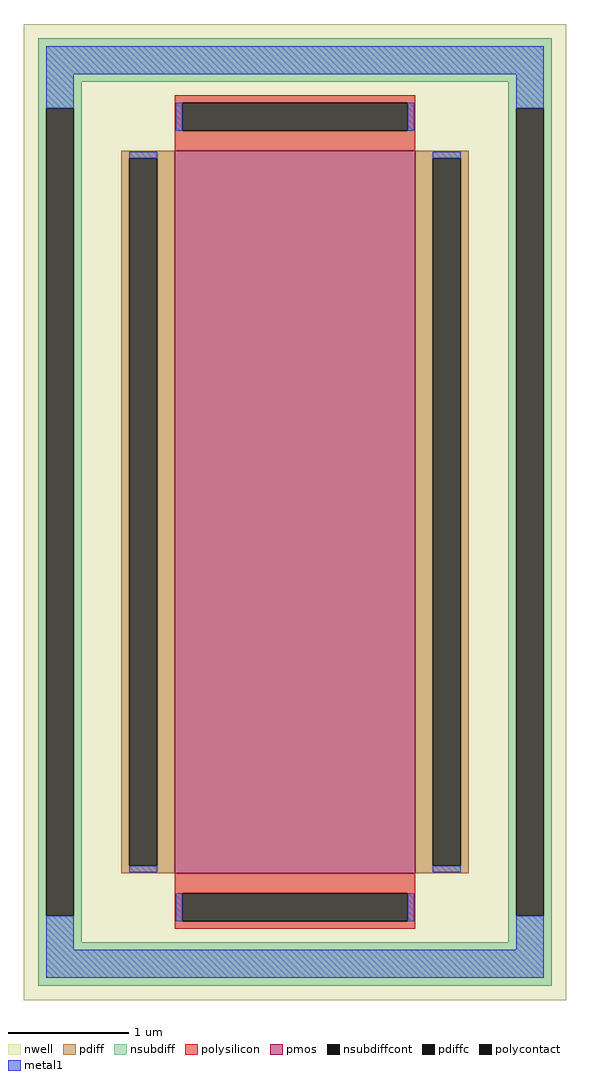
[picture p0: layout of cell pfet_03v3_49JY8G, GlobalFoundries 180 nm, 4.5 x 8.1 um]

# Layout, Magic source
magic
tech gf180mcuD
magscale 1 10
<< nwell >>
rect -450 -810 450 810
<< pmos >>
rect -200 -600 200 600
<< pdiff >>
rect -288 587 -200 600
rect -288 -587 -275 587
rect -229 -587 -200 587
rect -288 -600 -200 -587
rect 200 587 288 600
rect 200 -587 229 587
rect 275 -587 288 587
rect 200 -600 288 -587
<< pdiffc >>
rect -275 -587 -229 587
rect 229 -587 275 587
<< nsubdiff >>
rect -426 714 426 786
rect -426 670 -354 714
rect -426 -670 -413 670
rect -367 -670 -354 670
rect 354 670 426 714
rect -426 -714 -354 -670
rect 354 -670 367 670
rect 413 -670 426 670
rect 354 -714 426 -670
rect -426 -786 426 -714
<< nsubdiffcont >>
rect -413 -670 -367 670
rect 367 -670 413 670
<< polysilicon >>
rect -200 679 200 692
rect -200 633 -187 679
rect 187 633 200 679
rect -200 600 200 633
rect -200 -633 200 -600
rect -200 -679 -187 -633
rect 187 -679 200 -633
rect -200 -692 200 -679
<< polycontact >>
rect -187 633 187 679
rect -187 -679 187 -633
<< metal1 >>
rect -413 727 413 773
rect -413 670 -367 727
rect -198 633 -187 679
rect 187 633 198 679
rect 367 670 413 727
rect -275 587 -229 598
rect -275 -598 -229 -587
rect 229 587 275 598
rect 229 -598 275 -587
rect -413 -727 -367 -670
rect -198 -679 -187 -633
rect 187 -679 198 -633
rect 367 -727 413 -670
rect -413 -773 413 -727
<< properties >>
string FIXED_BBOX -390 -750 390 750
string gencell pfet_03v3
string library gf180mcu
string parameters w 6.0 l 2.0 m 1 nf 1 diffcov 100 polycov 100 guard 1 glc 1 grc 1 gtc 0 gbc 0 tbcov 100 rlcov 100 topc 1 botc 1 poverlap 0 doverlap 1 lmin 0.28 wmin 0.22 class mosfet full_metal 1 compatible {pfet_03v3 pfet_06v0}
<< end >>
